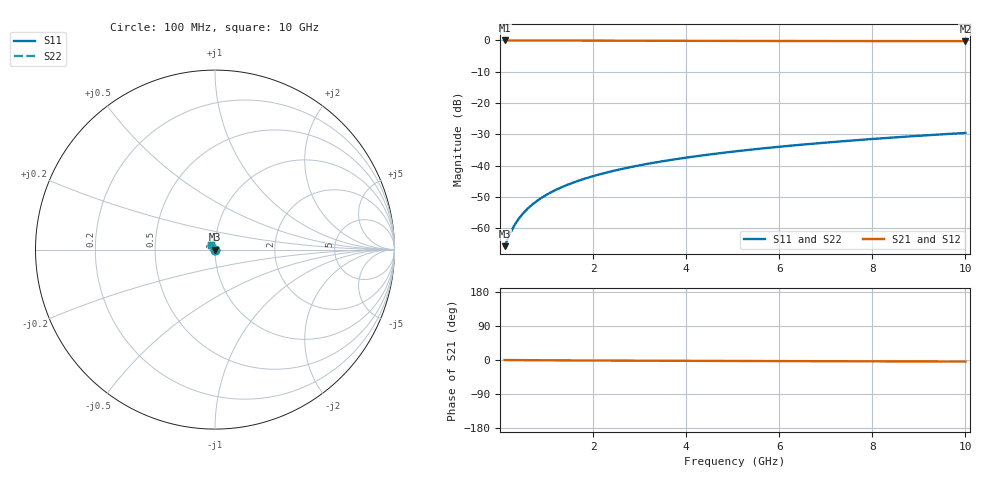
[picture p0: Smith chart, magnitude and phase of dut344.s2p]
! Touchstone file exported from HFSS 2024.1.0
!  File:  C:/UserFiles/LocalFiles/RDL_TSV_Batchsim/temp_TSV1_344_1779619398.aedt
!  Generated:  06:54:13 PM May 24, 2026
!  Design:  TSV1
!  Project:  temp_TSV1_344_1779619398
!  Setup:  Setup1
!  Solution:  Sweep
! Variables:
!  dtsv = 5.2um
!  hbump = 3um
!  htsv = 53.34um
!  lrdl = 252.1521522um
!  p = 40
!  p1 = 57.5um
!  t = 500um
!  trdl = 3um
!  wrdl = 24.89489489um
# GHz S MA R 50.000000
! Terminal data exported
! Port[1] = TSV22_T1
! Port[2] = TSV22_T2
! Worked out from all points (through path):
!   100 points, 100 MHz to 10 GHz, reference 50 ohm
!   highest |S21| = 0.00 dB at 100 MHz (marker M1); lowest = -0.2 dB at 10 GHz (marker M2)
!   lowest |S11| = -65.8 dB at 100 MHz (marker M3), VSWR 1.00, Z = 50 - j0.0351 ohm
!   |S11| at or under -10 dB: start of sweep to end of sweep
!   |S22| runs from -65.8 to -29.6 dB; largest |S21 - S12| = 1e-15
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0.1  0.0005158 -42.9  0.9996 -0.1  0.9996 -0.1  0.0005158 -42.9
! Gamma 0 0 0 0
! Port Impedance 50 0 50 0
0.2  0.0007722 -66.1  0.9995 -0.2  0.9995 -0.2  0.0007722 -66.1
0.3  0.001079 -78.6  0.9994 -0.2  0.9994 -0.2  0.001079 -78.6
0.4  0.001404 -86.8  0.9993 -0.3  0.9993 -0.3  0.001404 -86.8
0.5  0.001735 -93.0  0.9991 -0.4  0.9991 -0.4  0.001735 -93.0
0.6  0.00207 -98.1  0.9989 -0.5  0.9989 -0.5  0.00207 -98.1
0.7  0.002406 -102.7  0.9986 -0.5  0.9986 -0.5  0.002406 -102.7
0.9  0.00308 -110.6  0.998 -0.7  0.998 -0.7  0.00308 -110.6
1  0.003418 -114.2  0.9977 -0.7  0.9977 -0.7  0.003418 -114.2
1.2  0.004092 -121.0  0.997 -0.9  0.997 -0.9  0.004092 -121.0
1.5  0.005101 -130.4  0.9958 -1.1  0.9958 -1.1  0.005101 -130.4
1.8  0.006107 -138.9  0.9945 -1.3  0.9945 -1.3  0.006107 -138.9
2.1  0.00711 -146.7  0.9931 -1.4  0.9931 -1.4  0.00711 -146.7
2.5  0.008441 -156.3  0.9913 -1.6  0.9913 -1.6  0.008441 -156.3
2.9  0.009768 -164.8  0.9895 -1.8  0.9895 -1.8  0.009768 -164.8
3.4  0.01142 -174.3  0.9874 -2.0  0.9874 -2.0  0.01142 -174.3
4.2  0.01406 173.1  0.9845 -2.3  0.9845 -2.3  0.01406 173.1
5.1  0.01702 161.7  0.982 -2.6  0.982 -2.6  0.01702 161.7
5.9  0.01966 153.5  0.9802 -2.8  0.9802 -2.8  0.01966 153.5
6.7  0.0223 146.8  0.9787 -3.1  0.9787 -3.1  0.0223 146.8
8.4  0.02794 135.8  0.9764 -3.6  0.9764 -3.6  0.02794 135.8
10  0.03328 128.3  0.9748 -4.1  0.9748 -4.1  0.03328 128.3
